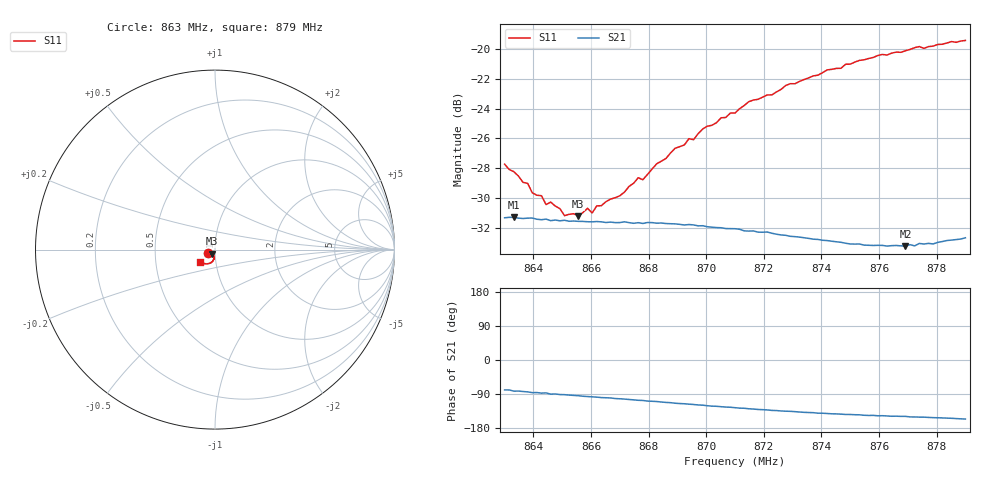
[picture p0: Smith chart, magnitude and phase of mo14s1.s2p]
# HZ S RI R 50
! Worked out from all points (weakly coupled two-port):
!   101 points, 863 MHz to 879 MHz, reference 50 ohm
!   highest |S21| = -31.29 dB at 863.32 MHz (marker M1); lowest = -33.2 dB at 876.92 MHz (marker M2)
!   lowest |S11| = -31.2 dB at 865.56 MHz (marker M3), VSWR 1.06, Z = 48.4 - j2.15 ohm
!   |S11| at or under -10 dB: start of sweep to end of sweep
!   S12 and S22 are empty: the file has one direction only
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8.63e8  -0.0373 -0.0173  0.00521 -0.0267  0 0  0 0
8.6332e8  -0.0346 -0.0176  0.00372 -0.027  0 0  0 0
8.638e8  -0.0307 -0.0177  0.00276 -0.0269  0 0  0 0
8.6396e8  -0.0279 -0.0175  0.00183 -0.0271  0 0  0 0
8.6428e8  -0.0257 -0.0194  0.00121 -0.0267  0 0  0 0
8.6444e8  -0.0257 -0.0157  0.00152 -0.0268  0 0  0 0
8.646e8  -0.0239 -0.0192  -3e-05 -0.0266  0 0  0 0
8.6508e8  -0.0183 -0.0207  -0.000691 -0.0266  0 0  0 0
8.6556e8  -0.0163 -0.0222  -0.00193 -0.0264  0 0  0 0
8.6572e8  -0.0154 -0.0237  -0.0026 -0.0263  0 0  0 0
8.6588e8  -0.015 -0.0251  -0.00295 -0.0262  0 0  0 0
8.6604e8  -0.0131 -0.025  -0.00328 -0.0261  0 0  0 0
8.662e8  -0.0134 -0.0266  -0.00366 -0.0261  0 0  0 0
8.67e8  -0.00915 -0.0309  -0.0056 -0.0256  0 0  0 0
8.6844e8  -0.00492 -0.0417  -0.00929 -0.0244  0 0  0 0
8.6988e8  -0.00607 -0.0536  -0.0125 -0.0223  0 0  0 0
8.71e8  -0.0101 -0.0601  -0.0146 -0.0202  0 0  0 0
8.7148e8  -0.0128 -0.0654  -0.0153 -0.0191  0 0  0 0
8.7372e8  -0.0282 -0.0762  -0.0174 -0.0151  0 0  0 0
8.7644e8  -0.057 -0.0783  -0.0187 -0.0115  0 0  0 0
8.7692e8  -0.0613 -0.0773  -0.0186 -0.0113  0 0  0 0
8.79e8  -0.0834 -0.0667  -0.0212 -0.00954  0 0  0 0
